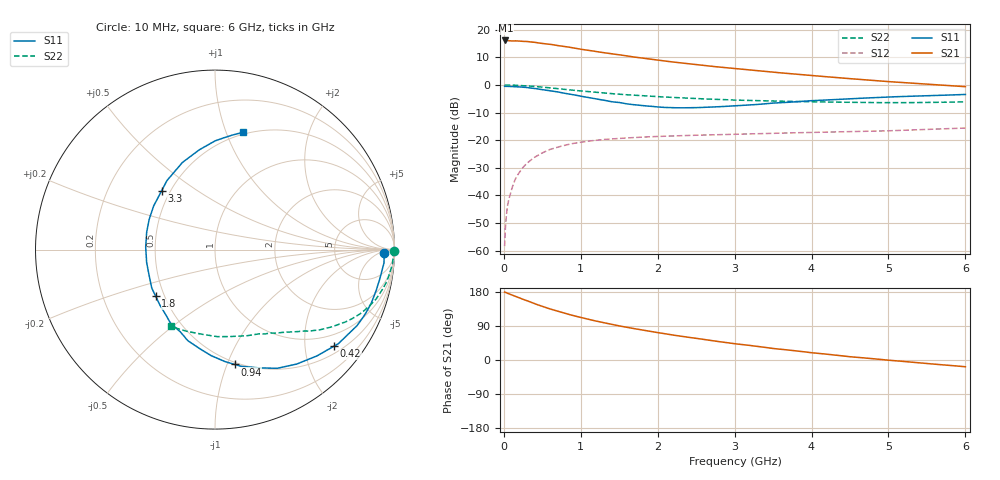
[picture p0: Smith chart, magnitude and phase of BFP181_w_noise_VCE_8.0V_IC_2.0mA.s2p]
! Infineon Technologies  Discrete & RF Semiconductors
! BFP181
! VCE = 8.0 V,  IC =  2.0 mA
! Common Emitter S-Parameters:  Jan 2016
# GHz  S  MA  R  50
!  f  S11  S21  S12  S22
! GHz  MAG  ANG  MAG  ANG  MAG  ANG  MAG  ANG
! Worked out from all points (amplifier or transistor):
!   210 points, 10 MHz to 6 GHz, reference 50 ohm
!   highest |S21| = 16.1 dB at 20 MHz (marker M1)
!   |S21| within 3 dB of that: start of sweep to 961.9 MHz
!   unconditionally stable (mu >= 1): 2.57 GHz to end of sweep
!   at 185 MHz: K = 0.09, MSG = 24.2 dB, |S12| = -32.4 dB
!   at 1.52 GHz: K = 0.66, MSG = 15.1 dB, |S12| = -19.3 dB
!   at 6 GHz: K = 1.15, MAG = 5.1 dB, |S12| = -15.6 dB
!   lowest NFmin = 1.35 dB at 450 MHz
!   S11 on the Smith chart (normalised r, x): 10 MHz: 32, -9; 420 MHz: 0.67, -2.67; 940 MHz: 0.48, -1.06; 1.8 GHz: 0.45, -0.28; 3.3 GHz: 0.45, +0.37; 6 GHz: 0.48, +1.14
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0.01  0.9435 -1.0  6.351 179.1  0.0012 84.5  0.9962 -0.4
0.02  0.9431 -1.9  6.385 178.7  0.0025 91.1  0.991 -0.9
0.035  0.9435 -3.2  6.357 177.3  0.0046 90.3  0.9921 -1.6
0.055  0.943 -5.0  6.322 175.5  0.0073 88.7  0.9932 -2.5
0.14  0.9273 -13.3  6.28 168.7  0.0183 80.8  0.9867 -6.2
0.3  0.8974 -28.2  6.12 156.6  0.038 72.9  0.9612 -13.0
0.42  0.8543 -39.0  5.845 147.1  0.0508 66.2  0.9336 -17.7
0.6  0.7839 -54.4  5.457 134.8  0.0678 57.5  0.8848 -23.8
0.8  0.7008 -70.0  4.964 122.6  0.0812 50.0  0.8278 -29.3
0.94  0.649 -80.3  4.577 115.3  0.0888 45.3  0.7913 -32.4
1.02  0.6185 -86.3  4.386 111.2  0.0924 43.1  0.7728 -34.1
1.2  0.5578 -98.9  4.018 102.7  0.0994 38.1  0.7339 -37.6
1.4  0.4962 -113.2  3.657 94.2  0.105 34.3  0.6953 -40.8
1.6  0.4535 -127.5  3.343 86.2  0.1096 31.0  0.6633 -43.3
1.8  0.4208 -141.8  3.062 78.9  0.1134 28.5  0.6361 -46.0
2.02  0.3968 -156.8  2.788 71.7  0.1168 25.6  0.6109 -48.8
2.4  0.3864 177.8  2.421 59.9  0.1218 22.2  0.5767 -53.9
3.1  0.4248 140.4  1.922 40.8  0.1284 18.0  0.5265 -63.5
3.3  0.4426 132.2  1.804 35.9  0.1308 17.0  0.5185 -66.5
4.1  0.5254 108.0  1.442 17.3  0.1386 13.5  0.4913 -80.5
5.1  0.6111 88.6  1.123 -2.1  0.1493 10.9  0.4767 -100.7
6  0.6714 76.7  0.929 -17.8  0.1654 8.1  0.4938 -119.9
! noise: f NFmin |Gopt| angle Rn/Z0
0.45  1.35  0.6  17  0.4
0.9  1.45  0.5  36  0.4
1.8  1.8  0.31  80  0.37
